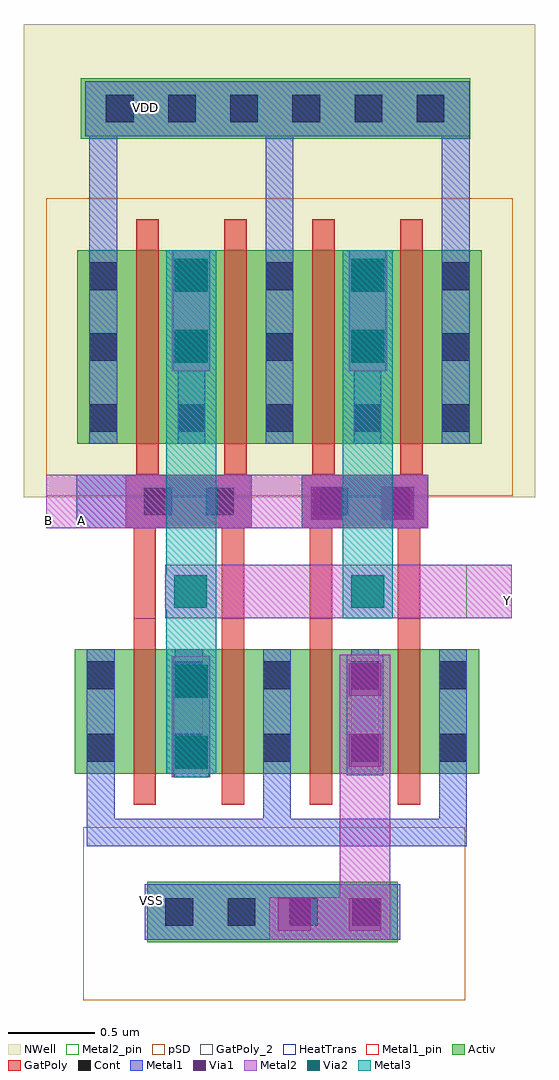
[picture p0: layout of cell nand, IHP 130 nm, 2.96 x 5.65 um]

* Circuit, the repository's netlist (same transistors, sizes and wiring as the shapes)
** sch_path: /home/designer/shared/BASIC/current_generator/analog/DAC/schematics/nand.sch
.subckt nand VDD VSS A B Y
*.PININFO Y:O A:I VDD:B VSS:B B:I
MMN0 net1 B VSS VSS sg13_lv_nmos w=1.44u l=130.00n ng=2
MMP0 Y B VDD VDD sg13_lv_pmos w=2.24u l=130.00n ng=2
MMN1 Y A net1 VSS sg13_lv_nmos w=1.44u l=130.00n ng=2
MMP1 Y A VDD VDD sg13_lv_pmos w=2.24u l=130.00n ng=2
.ends

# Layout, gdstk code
import gdstk
lib = gdstk.Library(unit=1e-6, precision=1e-09)
def R(c, l, rs):  # rectangles x0, y0, x1, y1
    for r in rs: c.add(gdstk.rectangle(r[:2], r[2:], *l))
def A(c, l, x, y, w, h, nx, ny, dx, dy):  # array of equal rectangles
    R(c, l, [(x+i*dx, y+j*dy, x+i*dx+w, y+j*dy+h) for i in range(nx) for j in range(ny)])
Activ = (1, 0)
GatPoly = (5, 0)
GatPoly_2 = (5, 2)
Cont = (6, 0)
Metal1 = (8, 0)
Metal1_pin = (8, 2)
Metal2 = (10, 0)
Metal2_pin = (10, 2)
pSD = (14, 0)
Via1 = (19, 0)
Via2 = (29, 0)
Metal3 = (30, 0)
NWell = (31, 0)
HeatTrans = (51, 0)

via_stack = lib.new_cell('via_stack')
R(via_stack, Metal1, [(-0.35,-0.105,0.35,0.105)])
R(via_stack, Metal2, [(-0.35,-0.1,0.35,0.1)])
R(via_stack, Via1, [(-0.3,-0.095,-0.11,0.095), (0.11,-0.095,0.3,0.095)])

via_stack_4 = lib.new_cell('via_stack$4')
R(via_stack_4, Metal1, [(-0.105,-0.35,0.105,0.35)])
R(via_stack_4, Metal2, [(-0.1,-0.35,0.1,0.35)])
R(via_stack_4, Via1, [(-0.095,-0.3,0.095,-0.11), (-0.095,0.11,0.095,0.3)])

via_stack_2 = lib.new_cell('via_stack$2')
R(via_stack_2, Metal1, [(-0.105,-0.35,0.105,0.35)])
R(via_stack_2, Metal2, [(-0.1,-0.35,0.1,0.35)])
R(via_stack_2, Via1, [(-0.095,-0.3,0.095,-0.11), (-0.095,0.11,0.095,0.3)])
R(via_stack_2, Via2, [(-0.095,-0.3,0.095,-0.11), (-0.095,0.11,0.095,0.3)])
R(via_stack_2, Metal3, [(-0.1,-0.35,0.1,0.35)])

via_stack_3 = lib.new_cell('via_stack$3')
R(via_stack_3, Metal2, [(-0.145,-0.1,0.145,0.1)])
R(via_stack_3, Via2, [(-0.095,-0.095,0.095,0.095)])
R(via_stack_3, Metal3, [(-0.145,-0.1,0.145,0.1)])

nmos = lib.new_cell('nmos')
A(nmos, Activ, 0, 0, 0.3, 0.3, 3, 1, 0.51, 0)
R(nmos, Activ, [(0,0,1.32,0.72)])
R(nmos, GatPoly, [(0.34,-0.18,0.47,0.9), (0.85,-0.18,0.98,0.9)])
R(nmos, GatPoly_2, [(0.34,-0.18,0.47,0.9)])
A(nmos, Cont, 0.07, 0.07, 0.16, 0.16, 3, 2, 0.51, 0.42)
A(nmos, Metal1, 0.07, 0, 0.16, 0.72, 3, 1, 0.51, 0)
R(nmos, Metal1_pin, [(0.07,0,0.23,0.72), (0.58,0,0.74,0.72)])
R(nmos, HeatTrans, [(0.34,-0.18,0.47,0.9), (0.85,-0.18,0.98,0.9)])
nmos.add(gdstk.Label('nmos', (0.405,0.36), layer=63, texttype=0))
nmos.add(gdstk.Label('nmos', (0.405,0.36), layer=51, texttype=0))
nmos.add(gdstk.Label('nmos', (0.915,0.36), layer=51, texttype=0))

pmos = lib.new_cell('pmos')
A(pmos, Activ, 0, 0, 0.3, 0.3, 3, 1, 0.51, 0)
R(pmos, Activ, [(0,0,1.32,1.12)])
R(pmos, GatPoly, [(0.34,-0.18,0.47,1.3), (0.34,-0.18,0.47,1.3), (0.85,-0.18,0.98,1.3)])
A(pmos, Cont, 0.07, 0.07, 0.16, 0.16, 3, 3, 0.51, 0.41)
R(pmos, Metal1, [(0.07,0,0.23,1.12), (0.07,0,0.23,1.12), (0.58,0,0.74,1.12), (0.58,0,0.74,1.12), (1.09,0,1.25,1.12)])
R(pmos, pSD, [(-0.18,-0.3,1.5,1.42)])
R(pmos, NWell, [(-0.31,-0.31,1.63,1.43)])
R(pmos, HeatTrans, [(0.34,-0.18,0.47,1.3), (0.85,-0.18,0.98,1.3)])
pmos.add(gdstk.Label('pmos', (0.405,0.56), layer=63, texttype=0))
pmos.add(gdstk.Label('pmos', (0.405,0.56), layer=51, texttype=0))
pmos.add(gdstk.Label('pmos', (0.915,0.56), layer=51, texttype=0))

nand = lib.new_cell('nand')
A(nand, Activ, -0.04, -2.85, 0.37, 0.35, 4, 1, 0.36, 0)
R(nand, Activ, [(-0.425,1.8,1.83,2.15)])
R(nand, GatPoly, [(-0.165,-0.455,0.205,-0.145), (0.195,-0.455,0.565,-0.145), (0.855,-0.455,1.225,-0.145), (1.215,-0.455,1.585,-0.145)])
A(nand, Cont, 0.065, -2.755, 0.16, 0.16, 4, 1, 0.36, 0)
A(nand, Cont, -0.28, 1.895, 0.16, 0.16, 6, 1, 0.36, 0)
R(nand, Cont, [(-0.06,-0.38,0.1,-0.22), (0.3,-0.38,0.46,-0.22), (0.96,-0.38,1.12,-0.22), (1.32,-0.38,1.48,-0.22)])
A(nand, Metal1, -0.055, -2.835, 0.4, 0.32, 4, 1, 0.36, 0)
R(nand, Metal1, [(-0.165,-0.455,0.205,-0.145), (0.195,-0.455,0.565,-0.145), (0.855,-0.455,1.225,-0.145), (1.215,-0.455,1.585,-0.145), (-0.4,1.815,1.825,2.135)])
R(nand, Metal1_pin, [(-0.055,-2.835,1.425,-2.515), (-0.45,-0.455,0.565,-0.145), (-0.4,1.815,1.825,2.135)])
R(nand, Metal2, [(0.665,-2.835,1.365,-2.59), (0.1,-1.895,0.325,-1.195), (0.1,0.455,0.325,1.155), (1.125,0.455,1.35,1.155)])
R(nand, Metal2_pin, [(1.805,-0.975,2.07,-0.665), (-0.625,-0.455,-0.45,-0.145)])
A(nand, pSD, -0.41, -3.185, 1.13, 1, 4, 1, 0.36, 0)
R(nand, NWell, [(-0.755,1.465,2.205,2.465)])
nand.add(gdstk.FlexPath([(0.565,-0.3),(-0.45,-0.3)], 0.31, ends="flush", simple_path=True, layer=8, datatype=0))  # Metal1
nand.add(gdstk.FlexPath([(-0.295,0.035),(-0.295,2.135)], 0.16, ends="flush", simple_path=True, layer=8, datatype=0))  # Metal1
nand.add(gdstk.FlexPath([(0.725,0.035),(0.725,2.135)], 0.16, ends="flush", simple_path=True, layer=8, datatype=0))  # Metal1
nand.add(gdstk.FlexPath([(1.745,0.035),(1.745,2.135)], 0.16, ends="flush", simple_path=True, layer=8, datatype=0))  # Metal1
nand.add(gdstk.FlexPath([(-0.39,-2.215),(1.81,-2.215)], 0.16, ends="flush", simple_path=True, layer=8, datatype=0))  # Metal1
nand.add(gdstk.FlexPath([(1.73,-1.875),(1.73,-2.295)], 0.16, ends="flush", simple_path=True, layer=8, datatype=0))  # Metal1
nand.add(gdstk.FlexPath([(0.71,-1.875),(0.71,-2.295)], 0.16, ends="flush", simple_path=True, layer=8, datatype=0))  # Metal1
nand.add(gdstk.FlexPath([(-0.31,-1.875),(-0.31,-2.295)], 0.16, ends="flush", simple_path=True, layer=8, datatype=0))  # Metal1
nand.add(gdstk.FlexPath([(1.585,-0.3),(-0.625,-0.3)], 0.31, ends="flush", simple_path=True, layer=10, datatype=0))  # Metal2
nand.add(gdstk.FlexPath([(2.07,-0.82),(0.065,-0.82)], 0.31, ends="flush", simple_path=True, layer=10, datatype=0))  # Metal2
nand.add(gdstk.FlexPath([(1.22,-1.185),(1.22,-2.835)], 0.29, ends="flush", simple_path=True, layer=10, datatype=0))  # Metal2
nand.add(gdstk.FlexPath([(0.215,1.155),(0.215,-0.975)], 0.29, ends="flush", simple_path=True, layer=30, datatype=0))  # Metal3
nand.add(gdstk.FlexPath([(1.235,1.155),(1.235,-0.975)], 0.29, ends="flush", simple_path=True, layer=30, datatype=0))  # Metal3
nand.add(gdstk.FlexPath([(0.215,-1.875),(0.215,-0.665)], 0.29, ends="flush", simple_path=True, layer=30, datatype=0))  # Metal3
nand.add(gdstk.FlexPath([(-0.055,-0.975),(-0.055,-0.445)], 0.13, ends="flush", simple_path=True, layer=5, datatype=0))  # GatPoly
nand.add(gdstk.FlexPath([(0.455,-0.975),(0.455,-0.455)], 0.13, ends="flush", simple_path=True, layer=5, datatype=0))  # GatPoly
nand.add(gdstk.FlexPath([(0.965,-0.975),(0.965,-0.445)], 0.13, ends="flush", simple_path=True, layer=5, datatype=0))  # GatPoly
nand.add(gdstk.FlexPath([(1.475,-0.975),(1.475,-0.455)], 0.13, ends="flush", simple_path=True, layer=5, datatype=0))  # GatPoly
nand.add(gdstk.Reference(via_stack, (1.015,-2.69)))
nand.add(gdstk.Reference(via_stack_4, (1.22,-1.535)))
nand.add(gdstk.Reference(via_stack_2, (0.215,-1.545)))
nand.add(gdstk.Reference(via_stack_3, (0.21,-0.82)))
nand.add(gdstk.Reference(via_stack_3, (1.235,-0.82)))
nand.add(gdstk.Reference(via_stack_2, (1.235,0.805)))
nand.add(gdstk.Reference(via_stack_2, (0.215,0.805)))
nand.add(gdstk.Reference(via_stack, (1.205,-0.31)))
nand.add(gdstk.Reference(nmos, (0.56,-1.875)))
nand.add(gdstk.Reference(pmos, (0.575,0.035)))
nand.add(gdstk.Reference(nmos, (-0.46,-1.875)))
nand.add(gdstk.Reference(pmos, (-0.445,0.035)))
nand.add(gdstk.Reference(pmos, (-0.445,0.035)))
nand.add(gdstk.Label('VDD', (-0.05,1.98), layer=8, texttype=25))
nand.add(gdstk.Label('VSS', (-0.015,-2.61), layer=8, texttype=25))
nand.add(gdstk.Label('A', (-0.42,-0.41), layer=8, texttype=25))
nand.add(gdstk.Label('Y', (2.045,-0.87), layer=10, texttype=25))
nand.add(gdstk.Label('B', (-0.61,-0.41), layer=10, texttype=25))

lib.write_gds('nand.gds')
